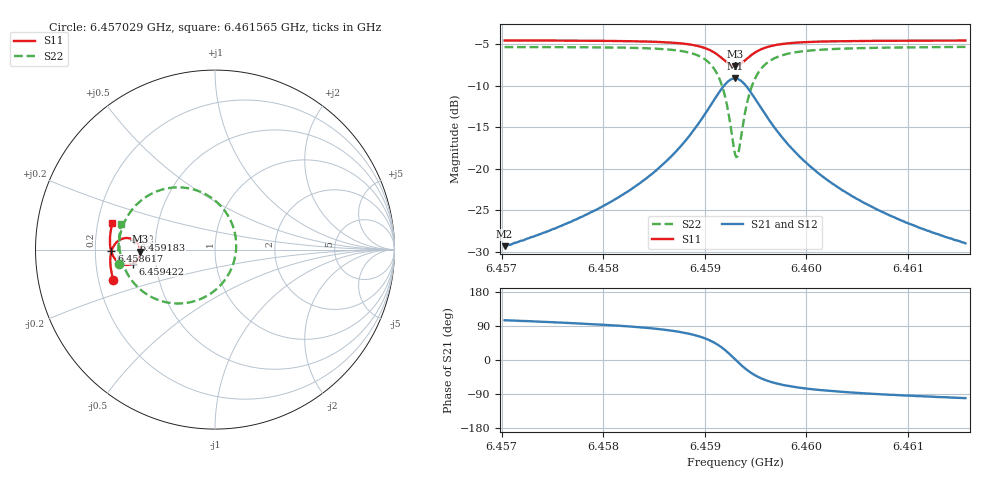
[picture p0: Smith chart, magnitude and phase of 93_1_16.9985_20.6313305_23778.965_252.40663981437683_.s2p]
#  HZ  S  RI  R  50.00
! Rohde & Schwarz Vector Network Analyzer
! Rohde-Schwarz,ZNB20-2Port,1311601062101988,3.16
! Created: UTC 3/20/2024, 10:56:12 PM
! freq[Hz]  re:S11  im:S11  re:S21  im:S21  re:S12  im:S12  re:S22  im:S22
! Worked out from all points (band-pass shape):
!   401 points, 6.457029 GHz to 6.461565 GHz, reference 50 ohm
!   highest |S21| = -9.13 dB at 6.459297 GHz (marker M1); lowest = -29.3 dB at 6.457029 GHz (marker M2)
!   |S21| within 3 dB of the highest: 6.45907 GHz to 6.459524 GHz (453.9 kHz wide, 0.00703 % of centre)
!   lowest |S11| = -7.6 dB at 6.459297 GHz (marker M3), VSWR 2.42, Z = 20.7 - j0.53 ohm
!   |S11| at or under -10 dB: nowhere
!   |S22| runs from -18.6 to -5.3 dB; largest |S21 - S12| = 0.014
!   S11 on the Smith chart (normalised r, x): 6.457029 GHz: 0.26, -0.14; 6.458617 GHz: 0.27, -0.01; 6.459183 GHz: 0.38, +0.05; 6.459422 GHz: 0.37, -0.07; 6.461565 GHz: 0.26, +0.12
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6.457029e9  -0.5672 -0.1695  -0.00879 0.033  -0.00703 0.0329  -0.5342 -0.0794
6.4577887e9  -0.5808 -0.1029  -0.00535 0.0511  -0.00284 0.0505  -0.5388 0.0103
6.4582196e9  -0.5833 -0.0592  0.00108 0.0716  0.00426 0.0701  -0.5294 0.0798
6.4585485e9  -0.5794 -0.0195  0.0148 0.1  0.0188 0.0973  -0.5037 0.1555
6.4586165e9  -0.5771 -0.00984  0.0203 0.1085  0.0244 0.1053  -0.4933 0.1755
6.4588093e9  -0.5642 0.0205  0.0474 0.1397  0.0514 0.1348  -0.4427 0.2448
6.4589567e9  -0.5412 0.0469  0.0933 0.1705  0.0964 0.1636  -0.3578 0.3091
6.4590928e9  -0.4968 0.0644  0.1817 0.1867  0.1826 0.1794  -0.1965 0.3468
6.4591835e9  -0.4516 0.0536  0.2726 0.1546  0.2729 0.1489  -0.0287 0.2944
6.4592515e9  -0.422 0.0209  0.3335 0.0816  0.3357 0.0763  0.0868 0.1624
6.4592969e9  -0.4151 -0.0106  0.3495 0.0126  0.3534 0.00576  0.1181 0.0336
6.4593082e9  -0.4158 -0.0188  0.3494 -0.00529  0.3532 -0.0128  0.1176 -0.00011
6.4593309e9  -0.4192 -0.0347  0.3435 -0.0403  0.3474 -0.0495  0.1057 -0.0667
6.4593762e9  -0.4351 -0.0612  0.3142 -0.1007  0.3167 -0.1127  0.0465 -0.1803
6.4594216e9  -0.4574 -0.0778  0.2716 -0.1418  0.2708 -0.1553  -0.0399 -0.2551
6.4595123e9  -0.5014 -0.0848  0.1858 -0.1729  0.1796 -0.1847  -0.2106 -0.3003
6.4596597e9  -0.5459 -0.0645  0.0971 -0.1587  0.0885 -0.1649  -0.3791 -0.2495
6.4598185e9  -0.5677 -0.0367  0.0519 -0.1302  0.0441 -0.1331  -0.4601 -0.1767
6.4600566e9  -0.5806 -0.00132  0.0225 -0.0984  0.0166 -0.0989  -0.5079 -0.0935
6.4604081e9  -0.5854 0.0408  0.00599 -0.0707  0.00198 -0.0701  -0.5295 -0.012
6.4608163e9  -0.5837 0.082  -0.0015 -0.0524  -0.00432 -0.0516  -0.5334 0.0538
6.4615647e9  -0.572 0.1485  -0.00651 -0.035  -0.00826 -0.0341  -0.5221 0.1431
